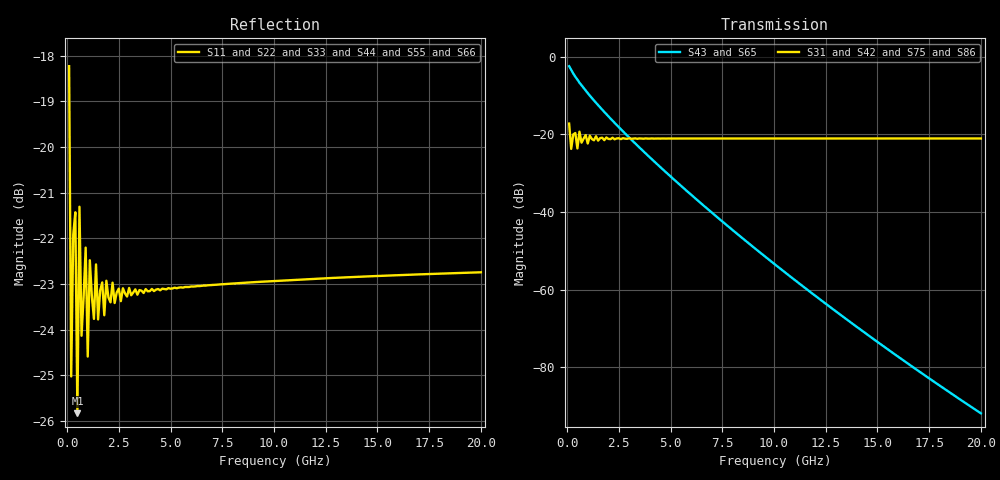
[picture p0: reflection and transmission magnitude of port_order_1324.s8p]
! Touchstone file exported from Circuit Design 2023.1.0
!  File:  C:/ansysdev/_aedt_workspace/draft/differential_microstrip.aedt
!  Generated:  2:04:14 pm  Mar 01, 2023
!  Design:  Circuit1
!  Project:  differential_microstrip
!  Setup:  LinearFrequency
! Variables:
!  $ms_clearance = 0.3mm
!  $ms_gap = 0.3mm
!  $ms_length = 201mm
!  $ms_width = 0.14mm
# GHz S MA R 50.000000
! Terminal data exported
! Port[1] = Port1
! Port[2] = Port2
! Port[3] = Port3
! Port[4] = Port4
! Port[5] = Port5
! Port[6] = Port6
! Port[7] = Port7
! Port[8] = Port8
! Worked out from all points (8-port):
!   200 points, 100 MHz to 20 GHz, reference 50 ohm
!   strongest paths, dB at 100 MHz, 5.1 GHz, 10.1 GHz, 15.1 GHz, 20 GHz:
!     S31: -17.2, -21.1, -21.0, -21.0, -21.0
!     S42: -17.2, -21.1, -21.0, -21.0, -21.0
!     S75: -17.2, -21.1, -21.0, -21.0, -21.0
!     S86: -17.2, -21.1, -21.0, -21.0, -21.0
!     S43: -2.4, -31.3, -53.7, -73.8, -91.9
!     S65: -2.4, -31.3, -53.7, -73.8, -91.9
!   lowest |S11| = -25.8 dB at 500 MHz (marker M1), VSWR 1.11, Z = 55.4 + j0.477 ohm
!   |S11| at or under -10 dB: start of sweep to end of sweep
